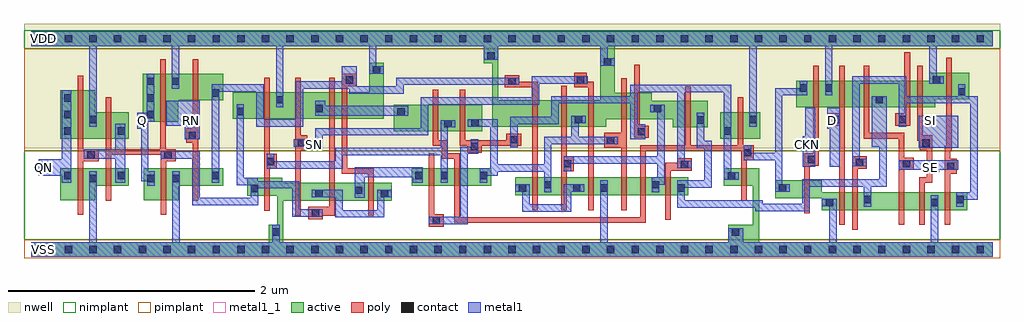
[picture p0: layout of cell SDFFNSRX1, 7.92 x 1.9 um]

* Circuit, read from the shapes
.subckt SDFFNSRX1 CKN D Q QN RN SE SI SN VDD VSS
M1 VSS n1 QN VSS nfet w=0.26u l=0.045u
M2 n1 n2 VSS VSS nfet w=0.145u l=0.045u
M3 VSS n2 Q VSS nfet w=0.26u l=0.045u
M4 n3 RN VSS VSS nfet w=0.145u l=0.045u
M5 VSS n4 n2 VSS nfet w=0.145u l=0.045u
M6 n5 SN VSS VSS nfet w=0.145u l=0.045u
M7 n6 n2 n5 VSS nfet w=0.145u l=0.045u
M8 n5 n3 n6 VSS nfet w=0.145u l=0.045u
M9 n4 n7 n6 VSS nfet w=0.145u l=0.045u
M10 n8 n9 n4 VSS nfet w=0.145u l=0.045u
M11 n8 n3 n10 VSS nfet w=0.145u l=0.045u
M12 n10 n11 n8 VSS nfet w=0.145u l=0.045u
M13 VSS SN n10 VSS nfet w=0.145u l=0.045u
M14 n12 n8 VSS VSS nfet w=0.145u l=0.045u
M15 n11 n9 n12 VSS nfet w=0.145u l=0.045u
M16 n13 n7 n11 VSS nfet w=0.145u l=0.045u
M17 VSS n9 n7 VSS nfet w=0.145u l=0.045u
M18 VSS CKN n9 VSS nfet w=0.145u l=0.045u
M19 n14 D VSS VSS nfet w=0.145u l=0.045u
M20 n13 n15 n14 VSS nfet w=0.145u l=0.045u
M21 n16 SE n13 VSS nfet w=0.145u l=0.045u
M22 VSS SI n16 VSS nfet w=0.145u l=0.045u
M23 n15 SE VSS VSS nfet w=0.145u l=0.045u
M24 VDD n1 QN VDD pfet w=0.39u l=0.045u
M25 n1 n2 VDD VDD pfet w=0.215u l=0.045u
M26 VDD n2 Q VDD pfet w=0.39u l=0.045u
M27 n3 RN VDD VDD pfet w=0.215u l=0.045u
M28 VDD n4 n2 VDD pfet w=0.215u l=0.045u
M29 n17 SN VDD VDD pfet w=0.215u l=0.045u
M30 n18 n2 n17 VDD pfet w=0.215u l=0.045u
M31 VDD n3 n18 VDD pfet w=0.215u l=0.045u
M32 n4 n9 n17 VDD pfet w=0.215u l=0.045u
M33 n8 n7 n4 VDD pfet w=0.215u l=0.045u
M34 n19 n3 VDD VDD pfet w=0.215u l=0.045u
M35 n8 n11 n19 VDD pfet w=0.215u l=0.045u
M36 VDD SN n8 VDD pfet w=0.215u l=0.045u
M37 n20 n8 VDD VDD pfet w=0.215u l=0.045u
M38 n11 n7 n20 VDD pfet w=0.215u l=0.045u
M39 n13 n9 n11 VDD pfet w=0.215u l=0.045u
M40 VDD n9 n7 VDD pfet w=0.215u l=0.045u
M41 VDD CKN n9 VDD pfet w=0.215u l=0.045u
M42 n21 D VDD VDD pfet w=0.215u l=0.045u
M43 n13 SE n21 VDD pfet w=0.215u l=0.045u
M44 n22 n15 n13 VDD pfet w=0.215u l=0.045u
M45 VDD SI n22 VDD pfet w=0.215u l=0.045u
M46 n15 SE VDD VDD pfet w=0.215u l=0.045u
.ends

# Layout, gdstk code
import gdstk
lib = gdstk.Library(unit=1e-6, precision=5e-10)
def R(c, l, rs):  # rectangles x0, y0, x1, y1
    for r in rs: c.add(gdstk.rectangle(r[:2], r[2:], *l))
def A(c, l, x, y, w, h, nx, ny, dx, dy):  # array of equal rectangles
    R(c, l, [(x+i*dx, y+j*dy, x+i*dx+w, y+j*dy+h) for i in range(nx) for j in range(ny)])
def P(c, l, *ps):  # polygons
    for p in ps: c.add(gdstk.Polygon(p, *l))
active = (1, 0)
nwell = (2, 0)
poly = (3, 0)
nimplant = (4, 0)
pimplant = (5, 0)
contact = (6, 0)
metal1 = (7, 0)
metal1_1 = (7, 1)

sdffnsrx1 = lib.new_cell('SDFFNSRX1')
R(sdffnsrx1, active, [(3.925,0.44,5.33,0.585), (3.085,0.515,3.73,0.66), (5.59,0.9,5.915,1.115), (2.94,0.96,3.66,1.175)])
P(sdffnsrx1, active, [(0,1.77),(7.8,1.77),(7.8,1.65),(4.735,1.65),(4.735,1.27),(5.035,1.27),(5.035,1.205),(5.49,1.205),(5.49,0.99),(5.205,0.99),(5.205,1.055),(4.665,1.055),(4.665,0.995),(3.74,0.995),(3.74,1.51),(3.67,1.51),(3.67,1.65),(3.79,1.65),(3.79,1.21),(4.615,1.21),(4.615,1.65),(0,1.65)],
  [(0.905,1.425),(1.555,1.425),(1.555,1.21),(1.19,1.21),(1.19,1.035),(0.905,1.035)],
  [(0.235,1.29),(0.52,1.29),(0.52,1.115),(0.79,1.115),(0.79,0.9),(0.235,0.9)],
  [(2.74,1.515),(2.86,1.515),(2.86,1.06),(1.635,1.06),(1.635,1.275),(2.74,1.275)],
  [(7.285,1.435),(7.61,1.435),(7.61,1.22),(7.335,1.22),(7.335,1.155),(6.205,1.155),(6.205,1.37),(7.285,1.37)],
  [(0.235,0.66),(0.79,0.66),(0.79,0.515),(0.52,0.515),(0.52,0.4),(0.235,0.4)],
  [(0.91,0.66),(1.555,0.66),(1.555,0.515),(1.195,0.515),(1.195,0.4),(0.91,0.4)],
  [(1.75,0.58),(2.035,0.58),(2.035,0.54),(2.925,0.54),(2.925,0.395),(2.045,0.395),(2.045,0.06),(5.655,0.06),(5.655,0.2),(5.855,0.2),(5.855,0.515),(5.62,0.515),(5.62,0.66),(5.905,0.66),(5.905,0.06),(7.8,0.06),(7.8,-0.06),(0,-0.06),(0,0.06),(1.925,0.06),(1.925,0.2),(1.995,0.2),(1.995,0.435),(1.75,0.435)],
  [(6.035,0.56),(6.415,0.56),(6.415,0.465),(7.595,0.465),(7.595,0.32),(6.415,0.32),(6.415,0.415),(6.035,0.415)])
R(sdffnsrx1, nwell, [(-0.06,0.82,7.86,1.83)])
P(sdffnsrx1, poly, [(0.375,1.41),(0.42,1.41),(0.42,0.815),(0.545,0.815),(0.545,0.715),(0.42,0.715),(0.42,0.28),(0.375,0.28)],
  [(0.605,1.235),(0.65,1.235),(0.65,0.815),(1.045,0.815),(1.045,1.545),(1.09,1.545),(1.09,0.815),(1.17,0.815),(1.17,0.715),(1.095,0.715),(1.095,0.28),(1.05,0.28),(1.05,0.77),(0.65,0.77),(0.65,0.395),(0.605,0.395)],
  [(2.52,1.425),(2.64,1.425),(2.64,1.325),(2.565,1.325),(2.565,0.66),(2.78,0.66),(2.78,0.275),(2.735,0.275),(2.735,0.615),(2.52,0.615)],
  [(1.31,1.545),(1.355,1.545),(1.355,0.395),(1.31,0.395),(1.31,0.865),(1.255,0.865),(1.255,0.985),(1.31,0.985)],
  [(1.89,1.395),(1.935,1.395),(1.935,0.775),(1.99,0.775),(1.99,0.655),(1.935,0.655),(1.935,0.315),(1.89,0.315)],
  [(2.14,1.395),(2.185,1.395),(2.185,0.925),(2.24,0.925),(2.24,0.805),(2.185,0.805),(2.185,0.275),(2.14,0.275)],
  [(2.415,1.395),(2.46,1.395),(2.46,0.275),(2.365,0.275),(2.365,0.245),(2.245,0.245),(2.245,0.345),(2.415,0.345)],
  [(3.255,1.295),(3.3,1.295),(3.3,0.885),(3.375,0.885),(3.375,0.78),(3.475,0.78),(3.475,0.26),(4.94,0.26),(4.94,0.845),(5.305,0.845),(5.305,1.325),(5.35,1.325),(5.35,0.845),(5.73,0.845),(5.73,1.235),(5.775,1.235),(5.775,0.845),(5.86,0.845),(5.86,0.725),(5.805,0.725),(5.805,0.395),(5.76,0.395),(5.76,0.8),(4.985,0.8),(4.985,0.215),(3.43,0.215),(3.43,0.735),(3.33,0.735),(3.33,0.84),(3.255,0.84)],
  [(3.475,1.295),(3.52,1.295),(3.52,0.885),(3.855,0.885),(3.855,0.94),(3.975,0.94),(3.975,0.84),(3.655,0.84),(3.655,0.785),(3.535,0.785),(3.535,0.84),(3.475,0.84)],
  [(4.405,1.435),(4.505,1.435),(4.505,1.36),(4.565,1.36),(4.565,0.32),(4.52,0.32),(4.52,1.315),(4.405,1.315)],
  [(3.84,1.415),(3.96,1.415),(3.96,1.36),(4.11,1.36),(4.11,0.32),(4.065,0.32),(4.065,1.315),(3.84,1.315)],
  [(4.3,1.33),(4.345,1.33),(4.345,0.755),(4.4,0.755),(4.4,0.635),(4.345,0.635),(4.345,0.32),(4.3,0.32)],
  [(4.785,1.39),(4.83,1.39),(4.83,0.32),(4.785,0.32),(4.785,0.825),(4.65,0.825),(4.65,0.945),(4.785,0.945)],
  [(4.89,1.5),(4.935,1.5),(4.935,1.005),(5.01,1.005),(5.01,0.905),(4.89,0.905)],
  [(6.345,1.49),(6.39,1.49),(6.39,0.68),(6.315,0.68),(6.315,0.295),(6.27,0.295),(6.27,0.78),(6.345,0.78)],
  [(6.555,1.49),(6.6,1.49),(6.6,0.2),(6.555,0.2),(6.555,1.005),(6.47,1.005),(6.47,1.105),(6.555,1.105)],
  [(6.755,1.49),(6.8,1.49),(6.8,0.945),(7.085,0.945),(7.085,0.745),(7.16,0.745),(7.16,0.645),(7.085,0.645),(7.085,0.2),(7.04,0.2),(7.04,0.9),(6.755,0.9)],
  [(7.085,1.6),(7.13,1.6),(7.13,1.005),(7.01,1.005),(7.01,1.105),(7.085,1.105)],
  [(7.19,1.49),(7.235,1.49),(7.235,0.925),(7.31,0.925),(7.31,0.54),(7.25,0.54),(7.25,0.2),(7.205,0.2),(7.205,0.585),(7.265,0.585),(7.265,0.805),(7.21,0.805),(7.21,0.88),(7.19,0.88)],
  [(7.425,1.555),(7.47,1.555),(7.47,0.795),(7.455,0.795),(7.455,0.735),(7.51,0.735),(7.51,0.615),(7.455,0.615),(7.455,0.2),(7.41,0.2),(7.41,0.84),(7.425,0.84)],
  [(6.66,0.755),(6.78,0.755),(6.78,0.655),(6.705,0.655),(6.705,0.16),(6.66,0.16)],
  [(3.225,0.78),(3.27,0.78),(3.27,0.285),(3.345,0.285),(3.345,0.185),(3.225,0.185)],
  [(5.24,0.74),(5.36,0.74),(5.36,0.64),(5.19,0.64),(5.19,0.24),(5.145,0.24),(5.145,0.705),(5.24,0.705)])
R(sdffnsrx1, nimplant, [(-0.06,0.08,7.86,0.8), (-0.06,1.63,7.86,1.78)])
R(sdffnsrx1, pimplant, [(-0.06,-0.07,7.86,0.08), (-0.06,0.8,7.86,1.63)])
A(sdffnsrx1, contact, 0.07, -0.03, 0.06, 0.06, 39, 2, 0.2, 1.71)
A(sdffnsrx1, contact, 0.265, 0.93, 0.06, 0.06, 1, 3, 0, 0.135)
A(sdffnsrx1, contact, 0.935, 1.065, 0.06, 0.06, 1, 3, 0, 0.135)
R(sdffnsrx1, contact, [(1.955,0.11,2.015,0.17), (5.685,0.11,5.745,0.17), (3.255,0.205,3.315,0.265), (2.275,0.265,2.335,0.325), (6.445,0.35,6.505,0.41), (7.3,0.35,7.36,0.41), (6.755,0.375,6.815,0.435), (7.505,0.375,7.565,0.435), (2.305,0.425,2.365,0.485), (2.835,0.425,2.895,0.485), (2.625,0.45,2.685,0.51), (1.78,0.465,1.84,0.525), (3.955,0.47,4.015,0.53), (4.395,0.47,4.455,0.53), (4.615,0.47,4.675,0.53), (5.24,0.47,5.3,0.53), (6.065,0.47,6.125,0.53), (4.16,0.495,4.22,0.555), (5.035,0.495,5.095,0.555), (0.47,0.545,0.53,0.605), (0.94,0.545,1,0.605), (1.145,0.545,1.205,0.605), (5.65,0.565,5.71,0.625), (0.265,0.57,0.325,0.63), (0.7,0.57,0.76,0.63), (1.465,0.57,1.525,0.63), (3.115,0.57,3.175,0.63), (3.32,0.57,3.38,0.63), (3.64,0.57,3.7,0.63), (7.43,0.645,7.49,0.705), (5.27,0.66,5.33,0.72), (4.32,0.665,4.38,0.725), (7.07,0.665,7.13,0.725), (6.69,0.675,6.75,0.735), (1.91,0.685,1.97,0.745), (6.3,0.7,6.36,0.76), (0.455,0.735,0.515,0.795), (1.08,0.735,1.14,0.795), (5.78,0.755,5.84,0.815), (3.565,0.805,3.625,0.865), (2.16,0.835,2.22,0.895), (7.23,0.835,7.29,0.895), (4.67,0.855,4.73,0.915), (3.885,0.86,3.945,0.92), (1.275,0.895,1.335,0.955), (4.92,0.925,4.98,0.985), (0.7,0.93,0.76,0.99), (5.62,0.93,5.68,0.99), (3.35,0.99,3.41,1.05), (3.57,0.995,3.63,1.055), (5.4,1.02,5.46,1.08), (0.47,1.025,0.53,1.085), (4.41,1.025,4.47,1.085), (5.825,1.025,5.885,1.085), (6.5,1.025,6.56,1.085), (7.04,1.025,7.1,1.085), (2.97,1.085,3.03,1.145), (1.665,1.09,1.725,1.15), (2.305,1.115,2.365,1.175), (5.05,1.115,5.11,1.175), (1.985,1.185,2.045,1.245), (6.85,1.185,6.91,1.245), (1.465,1.24,1.525,1.3), (7.52,1.25,7.58,1.31), (6.235,1.28,6.295,1.34), (6.44,1.28,6.5,1.34), (1.14,1.335,1.2,1.395), (3.87,1.335,3.93,1.395), (2.55,1.345,2.61,1.405), (4.425,1.345,4.485,1.405), (7.315,1.345,7.375,1.405), (2.77,1.425,2.83,1.485), (4.645,1.49,4.705,1.55), (3.7,1.54,3.76,1.6)])
R(sdffnsrx1, metal1, [(7.2,0.825,7.52,1.085)])
P(sdffnsrx1, metal1, [(0,1.77),(7.8,1.77),(7.8,1.65),(7.345,1.65),(7.345,1.405),(7.405,1.405),(7.405,1.345),(7.285,1.345),(7.285,1.65),(6.5,1.65),(6.5,1.25),(6.44,1.25),(6.44,1.65),(5.885,1.65),(5.885,0.995),(5.825,0.995),(5.825,1.65),(4.675,1.65),(4.675,1.55),(4.735,1.55),(4.735,1.49),(4.615,1.49),(4.615,1.65),(3.79,1.65),(3.79,1.54),(3.67,1.54),(3.67,1.65),(2.8,1.65),(2.8,1.485),(2.86,1.485),(2.86,1.425),(2.74,1.425),(2.74,1.65),(2.045,1.65),(2.045,1.155),(1.985,1.155),(1.985,1.65),(1.2,1.65),(1.2,1.305),(1.14,1.305),(1.14,1.65),(0.53,1.65),(0.53,0.995),(0.47,0.995),(0.47,1.65),(0,1.65)],
  [(0.245,1.29),(0.325,1.29),(0.325,0.54),(0.245,0.54),(0.245,0.6),(0.06,0.6),(0.06,0.73),(0.245,0.73)],
  [(0.935,1.425),(0.995,1.425),(0.995,1.035),(0.95,1.035),(0.95,0.635),(1,0.635),(1,0.515),(0.94,0.515),(0.94,0.555),(0.89,0.555),(0.89,0.98),(0.86,0.98),(0.86,1.11),(0.935,1.11)],
  [(0.68,1.02),(0.76,1.02),(0.76,0.54),(0.68,0.54),(0.68,0.735),(0.425,0.735),(0.425,0.815),(0.68,0.815)],
  [(2.52,1.485),(2.64,1.485),(2.64,1.325),(2.96,1.325),(2.96,1.395),(3.96,1.395),(3.96,1.335),(3.02,1.335),(3.02,1.265),(2.58,1.265),(2.58,1.305),(2.205,1.305),(2.205,0.995),(1.825,0.995),(1.825,1.28),(1.525,1.28),(1.525,0.54),(1.465,0.54),(1.465,1.34),(1.885,1.34),(1.885,1.055),(2.145,1.055),(2.145,1.365),(2.52,1.365)],
  [(1.095,1.205),(1.365,1.205),(1.365,0.895),(1.245,0.895),(1.245,1.005),(1.095,1.005)],
  [(0.47,0.635),(0.53,0.635),(0.53,0.06),(1.145,0.06),(1.145,0.635),(1.205,0.635),(1.205,0.06),(1.955,0.06),(1.955,0.2),(2.015,0.2),(2.015,0.06),(4.615,0.06),(4.615,0.56),(4.675,0.56),(4.675,0.06),(5.655,0.06),(5.655,0.17),(5.775,0.17),(5.775,0.06),(6.475,0.06),(6.475,0.35),(6.415,0.35),(6.415,0.41),(6.535,0.41),(6.535,0.06),(7.3,0.06),(7.3,0.44),(7.36,0.44),(7.36,0.06),(7.8,0.06),(7.8,-0.06),(0,-0.06),(0,0.06),(0.47,0.06)],
  [(1.05,0.795),(1.365,0.795),(1.365,0.42),(1.78,0.42),(1.78,0.52),(1.665,0.52),(1.665,1.18),(1.725,1.18),(1.725,0.58),(1.835,0.58),(1.835,0.555),(2.175,0.555),(2.175,0.325),(2.365,0.325),(2.365,0.265),(2.115,0.265),(2.115,0.495),(1.84,0.495),(1.84,0.36),(1.305,0.36),(1.305,0.735),(1.05,0.735)],
  [(4.06,1.405),(4.515,1.405),(4.515,1.345),(4.12,1.345),(4.12,1.175),(3.22,1.175),(3.22,0.925),(2.365,0.925),(2.365,0.815),(2.235,0.815),(2.235,0.835),(2.13,0.835),(2.13,0.895),(2.305,0.895),(2.305,0.985),(3.16,0.985),(3.16,1.235),(4.06,1.235)],
  [(4.86,1.335),(5.68,1.335),(5.68,0.625),(5.74,0.625),(5.74,0.565),(5.62,0.565),(5.62,1.275),(5.3,1.275),(5.3,0.72),(5.36,0.72),(5.36,0.66),(5.24,0.66),(5.24,1.275),(4.92,1.275),(4.92,1.015),(4.98,1.015),(4.98,0.895),(4.86,0.895),(4.86,1.185),(4.28,1.185),(4.28,1.015),(3.945,1.015),(3.945,0.83),(3.885,0.83),(3.885,1.075),(4.22,1.075),(4.22,1.245),(4.86,1.245)],
  [(2.305,1.205),(2.385,1.205),(2.385,1.165),(3.06,1.165),(3.06,1.085),(2.305,1.085)],
  [(3.32,1.05),(3.44,1.05),(3.44,0.99),(3.38,0.99),(3.38,0.54),(3.32,0.54),(3.32,0.765),(2.525,0.765),(2.525,0.655),(1.91,0.655),(1.91,0.775),(1.97,0.775),(1.97,0.715),(2.465,0.715),(2.465,0.825),(3.32,0.825)],
  [(3.54,1.055),(3.785,1.055),(3.785,0.69),(4.16,0.69),(4.16,0.915),(4.38,0.915),(4.38,1.085),(4.5,1.085),(4.5,1.025),(4.44,1.025),(4.44,0.915),(4.76,0.915),(4.76,0.855),(4.22,0.855),(4.22,0.465),(4.16,0.465),(4.16,0.63),(3.785,0.63),(3.785,0.6),(3.7,0.6),(3.7,0.54),(3.64,0.54),(3.64,0.66),(3.725,0.66),(3.725,0.995),(3.54,0.995)],
  [(5.02,1.175),(5.14,1.175),(5.14,0.525),(5.095,0.525),(5.095,0.465),(5.035,0.465),(5.035,0.585),(5.08,0.585),(5.08,0.695),(4.38,0.695),(4.38,0.635),(4.32,0.635),(4.32,0.755),(5.08,0.755),(5.08,1.115),(5.02,1.115)],
  [(3.565,0.895),(3.625,0.895),(3.625,0.775),(3.54,0.775),(3.54,0.205),(3.225,0.205),(3.225,0.265),(3.48,0.265),(3.48,0.835),(3.565,0.835)],
  [(2.625,0.665),(3.175,0.665),(3.175,0.54),(3.095,0.54),(3.095,0.585),(2.705,0.585),(2.705,0.42),(2.625,0.42)],
  [(2.275,0.485),(2.525,0.485),(2.525,0.32),(2.805,0.32),(2.805,0.485),(2.925,0.485),(2.925,0.425),(2.865,0.425),(2.865,0.26),(2.465,0.26),(2.465,0.425),(2.275,0.425)],
  [(5.4,1.11),(5.46,1.11),(5.46,0.88),(5.52,0.88),(5.52,0.5),(5.3,0.5),(5.3,0.4),(5.935,0.4),(5.935,0.37),(6.255,0.37),(6.255,0.57),(6.88,0.57),(6.88,0.835),(6.82,0.835),(6.82,1.245),(6.94,1.245),(6.94,0.51),(6.815,0.51),(6.815,0.345),(6.755,0.345),(6.755,0.51),(6.315,0.51),(6.315,0.31),(5.875,0.31),(5.875,0.34),(5.24,0.34),(5.24,0.56),(5.46,0.56),(5.46,0.82),(5.4,0.82)],
  [(6.235,1.37),(6.295,1.37),(6.295,1.25),(6.095,1.25),(6.095,0.53),(6.155,0.53),(6.155,0.47),(6.035,0.47),(6.035,0.725),(5.78,0.725),(5.78,0.845),(5.84,0.845),(5.84,0.785),(6.035,0.785),(6.035,1.31),(6.235,1.31)],
  [(6.66,1.405),(7.1,1.405),(7.1,1.245),(7.52,1.245),(7.52,1.34),(7.58,1.34),(7.58,1.245),(7.68,1.245),(7.68,0.405),(7.565,0.405),(7.565,0.345),(7.505,0.345),(7.505,0.465),(7.62,0.465),(7.62,1.185),(7.1,1.185),(7.1,0.995),(7.04,0.995),(7.04,1.345),(6.72,1.345),(6.72,0.735),(6.78,0.735),(6.78,0.675),(6.66,0.675)],
  [(6.46,1.15),(6.56,1.15),(6.56,0.67),(6.48,0.67),(6.48,0.98),(6.46,0.98)],
  [(6.28,1.15),(6.36,1.15),(6.36,0.67),(6.26,0.67),(6.26,0.92),(6.28,0.92)],
  [(3.925,0.53),(4.045,0.53),(4.045,0.365),(4.32,0.365),(4.32,0.53),(4.485,0.53),(4.485,0.47),(4.38,0.47),(4.38,0.305),(3.985,0.305),(3.985,0.47),(3.925,0.47)],
  [(7.04,0.725),(7.52,0.725),(7.52,0.645),(7.365,0.645),(7.365,0.625),(7.235,0.625),(7.235,0.645),(7.04,0.645)])
R(sdffnsrx1, metal1_1, [(0.06,-0.04,0.14,0.04), (0.06,-0.04,0.14,0.04), (0.06,0.625,0.14,0.705), (0.06,0.625,0.14,0.705), (7.26,0.625,7.34,0.705), (7.26,0.625,7.34,0.705), (2.26,0.815,2.34,0.895), (2.26,0.815,2.34,0.895), (6.26,0.815,6.34,0.895), (6.26,0.815,6.34,0.895), (0.86,1.005,0.94,1.085), (0.86,1.005,0.94,1.085), (1.26,1.005,1.34,1.085), (1.26,1.005,1.34,1.085), (6.46,1.005,6.54,1.085), (6.46,1.005,6.54,1.085), (7.26,1.005,7.34,1.085), (7.26,1.005,7.34,1.085), (0.06,1.67,0.14,1.75), (0.06,1.67,0.14,1.75)])
sdffnsrx1.add(gdstk.Label('VSS', (0.1,0), layer=7, texttype=1))
sdffnsrx1.add(gdstk.Label('VDD', (0.1,1.71), layer=7, texttype=1))
sdffnsrx1.add(gdstk.Label('RN', (1.3,1.045), layer=7, texttype=1))
sdffnsrx1.add(gdstk.Label('SN', (2.3,0.855), layer=7, texttype=1))
sdffnsrx1.add(gdstk.Label('CKN', (6.3,0.855), layer=7, texttype=1))
sdffnsrx1.add(gdstk.Label('D', (6.5,1.045), layer=7, texttype=1))
sdffnsrx1.add(gdstk.Label('SI', (7.3,1.045), layer=7, texttype=1))
sdffnsrx1.add(gdstk.Label('SE', (7.3,0.665), layer=7, texttype=1))
sdffnsrx1.add(gdstk.Label('QN', (0.1,0.665), layer=7, texttype=1))
sdffnsrx1.add(gdstk.Label('Q', (0.9,1.045), layer=7, texttype=1))
sdffnsrx1.add(gdstk.Label('Q', (0.9,1.045), layer=7, texttype=1))
sdffnsrx1.add(gdstk.Label('QN', (0.1,0.665), layer=7, texttype=1))
sdffnsrx1.add(gdstk.Label('SE', (7.3,0.665), layer=7, texttype=1))
sdffnsrx1.add(gdstk.Label('SI', (7.3,1.045), layer=7, texttype=1))
sdffnsrx1.add(gdstk.Label('D', (6.5,1.045), layer=7, texttype=1))
sdffnsrx1.add(gdstk.Label('CKN', (6.3,0.855), layer=7, texttype=1))
sdffnsrx1.add(gdstk.Label('SN', (2.3,0.855), layer=7, texttype=1))
sdffnsrx1.add(gdstk.Label('RN', (1.3,1.045), layer=7, texttype=1))
sdffnsrx1.add(gdstk.Label('VDD', (0.1,1.71), layer=7, texttype=1))
sdffnsrx1.add(gdstk.Label('VSS', (0.1,0), layer=7, texttype=1))
sdffnsrx1.add(gdstk.Label('SDFFNSRX1', (0,0), layer=63, texttype=0))

lib.write_gds('SDFFNSRX1.gds')
